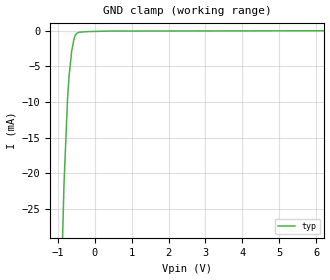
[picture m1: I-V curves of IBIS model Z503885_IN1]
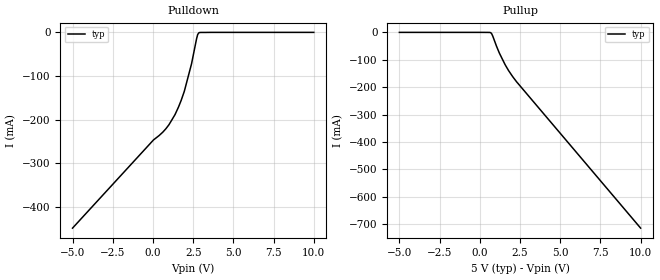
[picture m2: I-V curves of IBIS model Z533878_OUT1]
| YOU ARE ONLY AUTHORIZED TO USE THIS SOFTWARE
| ACCORDING TO LICENSOR'S LICENSE RESTRICTIONS.
[IBIS Ver] 3.1
[File Name] mc100h606fn.ibs
[File Rev] 1
[Source] Derived from mc10h645fn.ibs and mc100elt22d.ibs,
|   Measured and created by ICX Technology
[Date] 4/25/01
[Copyright]
| (C) COPYRIGHT 1993-2000
| MENTOR GRAPHICS CORPORATION
| ICX STANDARD LIBRARY, ICX PROJECT MODELING,
| ICX CUSTOM MODELING, ICX VENDOR MODEL
| ALL RIGHTS RESERVED.
| THE FOLLOWING ARE TRADEMARKS OR SERVICE MARKS OF
| MENTOR GRAPHICS CORPORATION:ICX (R), ICX STANDARD
| LIBRARY(R), ICX PROJECT MODELING(R), ICX CUSTOM
| MODELING(R), qualityIBIS(TM), MODELVIEWER(TM),
| AND MODELEDITOR(TM)
| ALL COPIES OF SOFTWARE, INCLUDING BUT NOT LIMITED TO
| ANY MODIFICATIONS, ENHANCEMENTS OR DERIVATIVE WORKS,
| MUST CONTAIN ALL MENTOR GRAPHICS CORPORATION'S
| NOTICES AND LEGENDS, INCLUDING THOSE EMBEDDED IN
| SOFTWARE AND THOSE AFFIXED TO SOFTWARE MEDIUM
| AND CONTAINER, AS RECEIVED FROM MENTOR GRAPHICS
| CORPORATION.
|  ZAP Model Builder 2.7
[Component] MC100H606FN
[Manufacturer] On Semiconductor
[Package]
| variable   typ   min   max
R_pkg  .083ohms NA NA
L_pkg  4.299nH NA NA
C_pkg  1.045pF NA NA
[Pin] signal_name  model_name  R_pin  L_pin C_pin
1 _CLK  Z503885_IN1  .082 4.14n .995p
2 CLK   Z503885_IN1  .082 4.14n .995p
3 MR   Z503885_IN1  .082 4.14n .995p
4 VCCE  POWER   .082 4.14n .995p
5 Q0   Z533878_OUT1 .08  3.94n .925p
6 _Q0   Z533878_OUT1 .08  3.94n .925p
7 GND   POWER   .082 4.14n .995p
8 Q1   Z533878_OUT1 .08  3.94n .925p
9 _Q1   Z533878_OUT1 .08  3.94n .925p
10 Q2   Z533878_OUT1 .08  3.94n .925p
11 _Q2  Z533878_OUT1 .08  3.94n .925p
12 Q3   Z533878_OUT1 .08  3.94n .925p
13 _Q3  Z533878_OUT1 .08  3.94n .925p
14 VCCE POWER   .082 4.14n .995p
15 Q4   Z533878_OUT1 .08  3.94n .925p
16 _Q4  Z533878_OUT1 .08  3.94n .925p
17 Q5   Z533878_OUT1 .08  3.94n .925p
18 _Q5  Z533878_OUT1 .08  3.94n .925p
19 VCCE POWER   .082 4.14n .995p
20 D5   Z503885_IN1 .082 4.14n .995p
21 D4   Z503885_IN1 .082 4.14n .995p
22 D3   Z503885_IN1 .082 4.14n .995p
23 VCCT POWER   .082 4.14n .995p
24 D2   Z503885_IN1 .082 4.14n .995p
25 D1   Z503885_IN1 .082 4.14n .995p
26 D0   Z503885_IN1 .082 4.14n .995p
27 TCLK Z503885_IN1 .082 4.14n .995p
28 VBB  POWER   .082 4.14n .995p
| Models and submodels in the file (2): Z503885_IN1 (Input), Z533878_OUT1 (Output)
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| (C) COPYRIGHT 1993-2000
| MENTOR GRAPHICS CORPORATION
| ICX STANDARD LIBRARY, ICX PROJECT MODELING,
| ICX CUSTOM MODELING, ICX VENDOR MODEL
| ALL RIGHTS RESERVED.
| THE FOLLOWING ARE TRADEMARKS OR SERVICE MARKS OF
| MENTOR GRAPHICS CORPORATION:ICX (R), ICX STANDARD
| LIBRARY(R), ICX PROJECT MODELING(R), ICX CUSTOM
| MODELING(R), qualityIBIS(TM), MODELVIEWER(TM),
| AND MODELEDITOR(TM)
| ALL COPIES OF SOFTWARE, INCLUDING BUT NOT LIMITED TO
| ANY MODIFICATIONS, ENHANCEMENTS OR DERIVATIVE WORKS,
| MUST CONTAIN ALL MENTOR GRAPHICS CORPORATION'S
| NOTICES AND LEGENDS, INCLUDING THOSE EMBEDDED IN
| SOFTWARE AND THOSE AFFIXED TO SOFTWARE MEDIUM
| AND CONTAINER, AS RECEIVED FROM MENTOR GRAPHICS
| CORPORATION.
| Model Application Version 1.89 2/18/99.
[Model] Z503885_IN1
Model_type Input
Vinl = 3.525V
Vinh = 3.835V
C_comp 2.000pF NA NA
| variable typ   min   max
[Voltage Range] 5.000V NA NA
[GND Clamp Reference] 0.000V NA NA
[POWER Clamp Reference] 5.000V NA NA
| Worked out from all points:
|   GND clamp passes 1 mA (typ) near -0.55 V on its own axis
[GND Clamp]
-5V       -851.6mA   NA         NA
-829mV    -21.59mA   NA         NA
-732.4mV  -9.481mA   NA         NA
-687.5mV  -6.154mA   NA         NA
-618.8mV  -2.808mA   NA         NA
-557.4mV  -1.125mA   NA         NA
-524.9mV  -625.1uA   NA         NA
-483.3mV  -346.9uA   NA         NA
-425.4mV  -202.3uA   NA         NA
-212.7mV  -111.5uA   NA         NA
371.1mV   -31.8uA    NA         NA
10V       38.26uA    NA         NA
[POWER Clamp]
-5V       0A         NA         NA
10V       0A         NA         NA
| (C) COPYRIGHT 1993-2000
| MENTOR GRAPHICS CORPORATION
| ICX STANDARD LIBRARY, ICX PROJECT MODELING,
| ICX CUSTOM MODELING, ICX VENDOR MODEL
| ALL RIGHTS RESERVED.
| THE FOLLOWING ARE TRADEMARKS OR SERVICE MARKS OF
| MENTOR GRAPHICS CORPORATION:ICX (R), ICX STANDARD
| LIBRARY(R), ICX PROJECT MODELING(R), ICX CUSTOM
| MODELING(R), qualityIBIS(TM), MODELVIEWER(TM),
| AND MODELEDITOR(TM)
| ALL COPIES OF SOFTWARE, INCLUDING BUT NOT LIMITED TO
| ANY MODIFICATIONS, ENHANCEMENTS OR DERIVATIVE WORKS,
| MUST CONTAIN ALL MENTOR GRAPHICS CORPORATION'S
| NOTICES AND LEGENDS, INCLUDING THOSE EMBEDDED IN
| SOFTWARE AND THOSE AFFIXED TO SOFTWARE MEDIUM
| AND CONTAINER, AS RECEIVED FROM MENTOR GRAPHICS
| CORPORATION.
| Model Application Version 1.89 2/18/99.
[Model] Z533878_OUT1
Model_type Output
Vref=1.800V
Rref=96.00ohms
Cref=0.000F
Vmeas=3.500V
C_comp 2.000pF NA NA
| variable typ   min   max
[Voltage Range] 5.000V NA NA
[POWER Clamp Reference] 5.000V NA NA
[Pullup Reference] 5.000V NA NA
[Pulldown Reference] 0.000V NA NA
[GND Clamp Reference] 0.000V NA NA
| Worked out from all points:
|   slope of the pulldown table from 0 to 0.75 V, typ, clamps not added: 30.2 ohm
|   slope of the pullup table from 0 to 0.75 V, typ, clamps not added: 115 ohm
[GND Clamp]
-5V       0A         NA         NA
10V       0A         NA         NA
[Pulldown]
-5V       -449.4mA   NA         NA
35.82mV   -246.9mA   NA         NA
615.1mV   -229mA     NA         NA
996.1mV   -212mA     NA         NA
1.371V    -188.9mA   NA         NA
1.591V    -171.3mA   NA         NA
1.952V    -135.2mA   NA         NA
2.401V    -72.1mA    NA         NA
2.716V    -14.26mA   NA         NA
2.783V    -4.9mA     NA         NA
2.862V    -736.9uA   NA         NA
10V       75.52uA    NA         NA
[Pullup]
-5V       149uA      NA         NA
586mV     -36.23uA   NA         NA
703mV     -2.294mA   NA         NA
809mV     -13.86mA   NA         NA
1.218V    -75.67mA   NA         NA
1.573V    -117.7mA   NA         NA
1.788V    -139.2mA   NA         NA
2.285V    -180.1mA   NA         NA
10V       -714.5mA   NA         NA
[POWER Clamp]
-5V       0A         NA         NA
10V       0A         NA         NA
[Ramp]
| variable typ min max
dV/dt_r 873.0m/913.6p NA NA
dV/dt_f 873.0m/788.1p NA NA
R_load = 50.0Ohms
